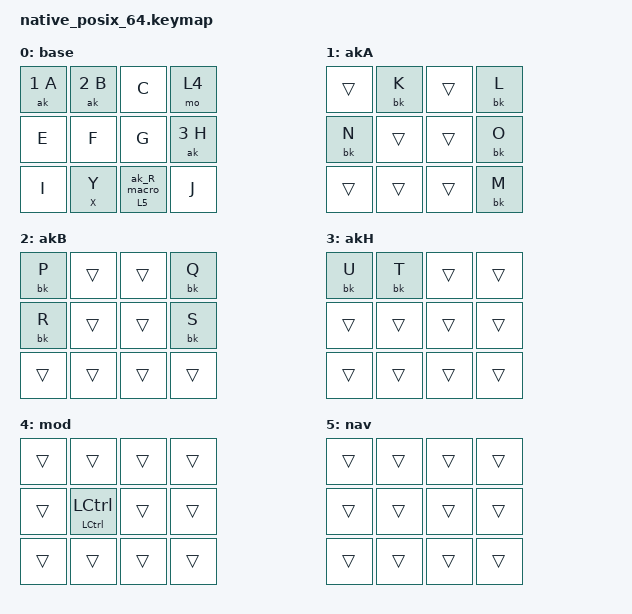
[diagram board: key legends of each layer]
/*
 * Rig R1 — synthetic 3x4 mock keymap for the AK-truth test plan
 * (CLAIMS.md "Common rig R1"; node shapes verbatim from Flo's zmk-config).
 *
 * TEMPLATE — do not edit in place. Copy this directory to
 * tests/ak-truth/<your-case>/ and add the `events` list at the bottom.
 *
 * Mock geometry: rows = 3, columns = 4, no matrix transform
 *   → position p = row * 4 + col  →  ZMK_MOCK_PRESS(p / 4, p % 4, ms)
 *
 *   ╭──────────────────────────────────────────────────────────────╮
 *   │ pos  0 (0,0) A   1 (0,1) B    2 (0,2) C     3 (0,3) D        │  row 0
 *   │ pos  4 (1,0) E   5 (1,1) F    6 (1,2) G     7 (1,3) H        │  row 1
 *   │ pos  8 (2,0) I   9 (2,1) lkXY 10 (2,2) thumb 11 (2,3) J      │  row 2
 *   ╰──────────────────────────────────────────────────────────────╯
 *
 * Node → real-config source:
 *   ak, bk          features/hands_down/adaptive_keys/macros.dtsi   (ak_tap_time = TEMP_macro_tap_time = 10)
 *   aksl, blt_akR,
 *   ak_R_macro      features/hands_down/adaptive_keys/behaviors.dtsi (my_ak_window = 100, my_tapping_term_thumb = 200)
 *   lk              features/hands_down/linger_keys/behaviors.dtsi  (linger_term = 100)
 *   htls, htm,
 *   skm, skms       features/hands_down/mods/behaviors.dtsi         (action_lay_tapping_term = 90, action_mod_tapping_term = 130)
 *   moAndBuffer     features/hands_down/mods/macros.dtsi            (l_mod → layer 4 here)
 *   hack combo      features/hands_down/adaptive_keys/combos.dtsi   (hold_key_event_delay = 11; defined LAST like the real one)
 *
 * Layers: 0 base · 1 akA · 2 akB · 3 akH · 4 mod · 5 nav
 * Labels: `combos`, `combo_hack`, `combo_R16` … so a case can `/delete-node/ &combo_hack;`
 * or `/delete-node/ &combos;` after including nothing else (see T-01-r1).
 */

#include <dt-bindings/zmk/keys.h>
#include <behaviors.dtsi>
#include <dt-bindings/zmk/kscan_mock.h>

/ {
    macros {
        ak: ak {
                label = "flo,behavior-adaptive-key";
                compatible = "zmk,behavior-macro-two-param";
                #binding-cells = <2>;
                wait-ms = <0>;
                tap-ms = <10>;
                bindings =
                        <&macro_param_2to1>,
                        <&macro_tap &kp MACRO_PLACEHOLDER>,

                        <&macro_tap_time 0>,

                        <&macro_param_1to1>,
                        <&macro_tap &aksl MACRO_PLACEHOLDER>;
        };

        bk: bk {
                label = "flo,behavior-buffered-key";
                compatible = "zmk,behavior-macro-one-param";
                #binding-cells = <1>;
                wait-ms = <0>;
                tap-ms = <10>;
                bindings =
                        <&macro_param_1to1>,
                        <&macro_tap &kp MACRO_PLACEHOLDER>
                        ;
        };

        /* real: ZMK_MACRO(ak_R_macro, wait-ms = <0>; tap-ms = <0>; bindings = <&ak l_akR R>;)
         * here the thumb's AK layer is 3 (akH) and the letter is H, per CLAIMS R1 */
        ak_R_macro: ak_R_macro {
                compatible = "zmk,behavior-macro";
                #binding-cells = <0>;
                wait-ms = <0>;
                tap-ms = <0>;
                bindings = <&ak 3 H>;
        };

        moAndBuffer: moAndBuffer {
                compatible = "zmk,behavior-macro-one-param";
                #binding-cells = <1>;
                wait-ms = <0>;
                tap-ms = <0>;
                bindings =
                        <&macro_press &mo 4>,

                        <&macro_pause_for_release>,

                        <&macro_wait_time 130>,
                        <&macro_tap &none>,

                        <&macro_release &mo 4>;
        };
    };

    behaviors {
        aksl: aksl {
            compatible = "zmk,behavior-sticky-key";
            label = "flo,behavior-adaptive-key-sticky-layer";
            #binding-cells = <1>;
            release-after-ms = <100>;
            bindings = <&mo>;
        };

        blt_akR: blt_akR {
            compatible = "zmk,behavior-hold-tap";
            #binding-cells = <2>;
            flavor = "tap-preferred";
            tapping-term-ms = <200>;
            bindings = <&mo>, <&ak_R_macro>;
        };

        lk: lk {
            compatible = "zmk,behavior-hold-tap";
            label = "lk";
            #binding-cells = <2>;
            tapping-term-ms = <100>;
            flavor = "tap-preferred";
            bindings = <&bk>, <&bk>;
        };

        skm: sticky_key_mod {
                compatible = "zmk,behavior-sticky-key";
                #binding-cells = <1>;
                bindings = <&kp>;
                release-after-ms = <1500>;
                ignore-modifiers;
        };

        skms: sticky_key_mod_shift {
                compatible = "zmk,behavior-sticky-key";
                #binding-cells = <1>;
                bindings = <&kp>;
                release-after-ms = <1500>;
        };

        htm: hold_tap_mod {
            compatible = "zmk,behavior-hold-tap";
            #binding-cells = <2>;
            tapping-term-ms = <130>;
            flavor = "tap-preferred";
            bindings = <&kp>, <&skm>;
            hold-while-undecided;
            hold-while-undecided-linger;
        };

        htls: hold_tap_layer_sticky_shift {
            compatible = "zmk,behavior-hold-tap";
            #binding-cells = <2>;
            tapping-term-ms = <90>;
            flavor = "hold-preferred";
            bindings = <&moAndBuffer>, <&skms>;
        };
    };

    combos: combos {
        compatible = "zmk,combos";

        /* real tiers: adjacent 16 / non-adjacent 18 / two-hand 30; layers = l_all (every layer) */
        combo_R16: combo_R16 {
            bindings = <&bk C>;
            key-positions = <0 2>;
            layers = <0 1 2 3 4 5>;
            timeout-ms = <16>;
        };
        combo_S16: combo_S16 {
            bindings = <&bk V>;
            key-positions = <4 5>;
            layers = <0 1 2 3 4 5>;
            timeout-ms = <16>;
        };
        combo_Q18: combo_Q18 {
            bindings = <&bk W>;
            key-positions = <4 5 6>;
            layers = <0 1 2 3 4 5>;
            timeout-ms = <18>;
        };
        combo_W30: combo_W30 {
            bindings = <&bk Z>;
            key-positions = <7 8>;
            layers = <0 1 2 3 4 5>;
            timeout-ms = <30>;
        };
        combo_V16: combo_V16 {
            bindings = <&bk Y>;
            key-positions = <6 11>;
            layers = <0 1 2 3 4 5>;
            timeout-ms = <16>;
        };

        /* COMBO_AK_CONSISTENCY_HACK — all keys, alpha+AK layers only (not mod/nav), 11 ms.
         * Defined last, as in the real combos.dtsi include order. */
        combo_hack: combo_ak_consistency_hack {
            bindings = <&none>;
            key-positions = <0 1 2 3 4 5 6 7 8 9 10 11>;
            layers = <0 1 2 3>;
            timeout-ms = <11>;
        };
    };

    keymap {
        compatible = "zmk,keymap";

        base {          /* 0 */
            bindings = <
                &ak 1 A     &ak 2 B     &kp C           &mo 4
                &kp E       &kp F       &kp G           &ak 3 H
                &kp I       &lk X Y     &blt_akR 5 0    &kp J
            >;
        };

        akA {           /* 1: after A */
            bindings = <
                &trans      &bk K       &trans          &bk L
                &bk N       &trans      &trans          &bk O
                &trans      &trans      &trans          &bk M
            >;
        };

        akB {           /* 2: after B */
            bindings = <
                &bk P       &trans      &trans          &bk Q
                &bk R       &trans      &trans          &bk S
                &trans      &trans      &trans          &trans
            >;
        };

        akH {           /* 3: after H (also the thumb's AK layer) */
            bindings = <
                &bk U       &bk T       &trans          &trans
                &trans      &trans      &trans          &trans
                &trans      &trans      &trans          &trans
            >;
        };

        mod {           /* 4: l_mod stand-in */
            bindings = <
                &trans      &trans      &trans          &trans
                &trans      &htm LCTRL LCTRL  &trans    &trans
                &trans      &trans      &trans          &trans
            >;
        };

        nav {           /* 5: hold target of blt_akR */
            bindings = <
                &trans      &trans      &trans          &trans
                &trans      &trans      &trans          &trans
                &trans      &trans      &trans          &trans
            >;
        };
    };
};

&kscan {
    rows = <3>;
    columns = <4>;

    /* >>> PLACEHOLDER — the template has NO events and will not build. <<<
     * A test case copies this directory and adds, e.g.:
     *
     * events = <
     *     ZMK_MOCK_PRESS(0,3,100)      // pos 3 (D); 100 = boot delay AND the gap after (+1 each on native)
     *     ZMK_MOCK_RELEASE(0,3,10)
     *     ZMK_MOCK_PRESS(0,2,50)
     *     ZMK_MOCK_RELEASE(0,2,300)    // last gap bounds the observation window (100 ms timers need ≥ 300)
     * >;
     */
};

/* T-19 (b) hold with captured key: pos 3 = &mo 4 held for the whole run, then the CLAIMS events */
/* T-19-fix-c (corrects fix-b's gap arithmetic: msec is the delay AFTER the event, so the
 * htm PRESS needs msec >= 130 to reach the hold timer).
 * htm TAP (sticky LCTRL armed, refcount 1) then the SAME htm HELD past 130 and released with no
 * key in between (refcount 2 -> release_hold_binding twice -> 0), then C.
 * Prediction (behavior_hold_tap.c:642-645 + hid.c:61-75): htm up drops the count 2->1->0 with
 * NO error, C is emitted with `Modifiers set to 0x00` (plain c), and C's key-up makes the
 * still-armed sticky release LCTRL once more -> `<err> … Tried to unregister modifier 0 too often`.
 * Mock timeline (gap = msec+1): mo4 31 · htm 62 · htm^ 113 · htm 124 · timer 255 · htm^ 325 ·
 * C 526 (delivered 543) · C^ 577 · mo4^ 678 · exit 979 */
&kscan {
    events = <
        ZMK_MOCK_PRESS(0,3,30)      // &mo 4 down (pos 3)
        ZMK_MOCK_PRESS(1,1,50)      // 62  = t : htm down
        ZMK_MOCK_RELEASE(1,1,10)    // 113 : htm up -> TAP -> sticky LCTRL armed (count 1)
        ZMK_MOCK_PRESS(1,1,200)     // 124 : htm down again -> hold-while-undecided LCTRL (count 2); HOLD at 255
        ZMK_MOCK_RELEASE(1,1,200)   // 325 : htm up after HOLD -> double release_hold_binding
        ZMK_MOCK_PRESS(0,2,50)      // 526 : C down (R16 hold 16 -> delivered 543)
        ZMK_MOCK_RELEASE(0,2,100)   // 577 : C up -> sticky release -> one more LCTRL release
        ZMK_MOCK_RELEASE(0,3,300)   // 678 : &mo 4 up; exit 979
    >;
};
